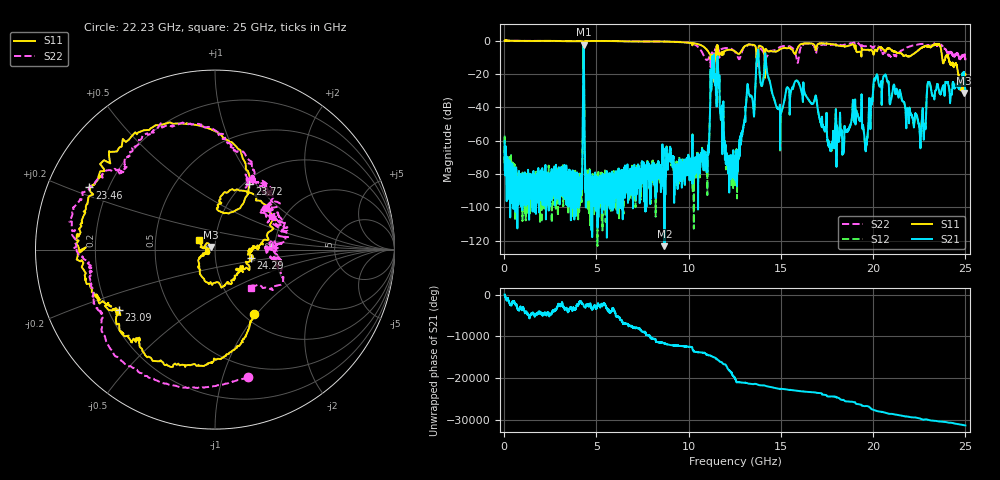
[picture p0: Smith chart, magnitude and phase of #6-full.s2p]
#  HZ  S  DB  R  50.00
! Rohde & Schwarz ZVA67 4Ports - Version 3.30 - 1305.7002k04 SN: 101038
! Date: 2022-07-22 05:30:39
! Measurements: S11 S21 S12 S22
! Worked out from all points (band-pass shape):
!   6246 points, 20 MHz to 25 GHz, reference 50 ohm
!   highest |S21| = -2.38 dB at 4.3 GHz (marker M1); lowest = -123.4 dB at 8.688 GHz (marker M2)
!   |S21| within 3 dB of the highest: 4.289 GHz to 4.313 GHz (24.39 MHz wide, 0.567 % of centre); 13.75551 GHz to 13.7627 GHz (7.196 MHz wide, 0.0523 % of centre)
!   lowest |S11| = -31.4 dB at 24.92 GHz (marker M3), VSWR 1.06, Z = 47.8 + j1.46 ohm
!   |S11| at or under -10 dB: 11.27 GHz to 11.35 GHz (81.47 MHz wide, 0.72 % of centre); 23.74 GHz to 23.91 GHz (172.9 MHz wide, 0.726 % of centre); 24.07 GHz to end of sweep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
!   |S22| runs from -22.1 to 0.1 dB; largest |S21 - S12| = 0.05
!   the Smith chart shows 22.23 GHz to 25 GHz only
!   S11 on the Smith chart (normalised r, x): 22.23 GHz: 1.11, -0.97; 23.09 GHz: 0.24, -0.27; 23.46 GHz: 0.13, +0.23; 23.72 GHz: 1.06, +0.93; 24.29 GHz: 1.49, -0.15; 25 GHz: 0.83, +0.09
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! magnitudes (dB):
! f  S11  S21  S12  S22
! 20 MHz  0.0  -60.3  -73.7  0.0
! 4.184 GHz  -0.3  -86.5  -89.1  -0.2
! 4.3 GHz  -16.4  -2.4  -2.4  -13.5
! 4.512 GHz  -0.2  -82.8  -84.3  -0.2
! 8.348 GHz  -0.5  -73.1  -74.4  -0.4
! 8.688 GHz  -0.5  -123.4  -81.4  -0.5
! 10.92 GHz  -4.6  -76.5  -77.5  -11.0
! 11.47 GHz  -8.0  -27.8  -27.8  -8.7
! 12.51 GHz  -6.4  -81.6  -76.4  -6.7
! 13.75 GHz  -10.1  -6.0  -6.0  -13.5
! 16.68 GHz  -1.7  -37.9  -37.9  -2.1
! 19.6 GHz  -5.5  -64.4  -65.0  -3.2
! 20.13 GHz  -5.6  -22.3  -22.4  -3.4
! 20.84 GHz  -4.6  -25.1  -25.0  -9.0
! 22.23 GHz  -7.6  -49.6  -49.9  -2.7
! 23.09 GHz  -4.0  -26.1  -26.1  -3.0
! 23.46 GHz  -2.1  -26.3  -26.2  -3.3
! 23.72 GHz  -7.7  -29.6  -29.6  -2.7
! 24.29 GHz  -13.8  -28.9  -28.8  -8.0
! 24.92 GHz  -31.4  -19.4  -19.4  -8.3
! 25 GHz  -19.7  -29.7  -29.7  -10.7
! 25 GHz  -20.1  -30.2  -30.2  -11.8
